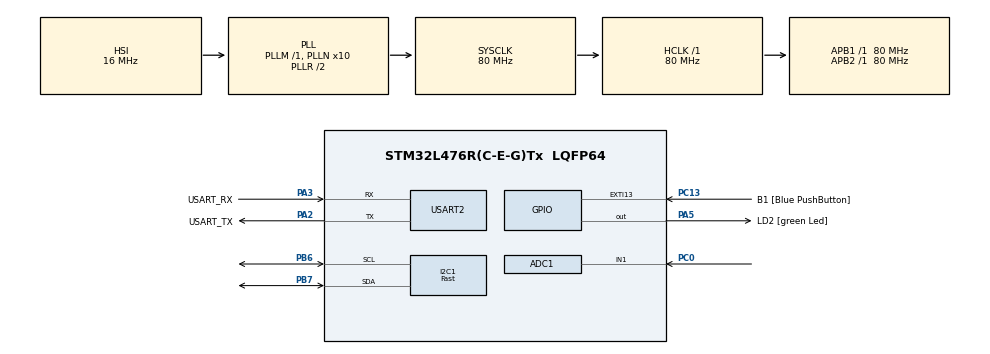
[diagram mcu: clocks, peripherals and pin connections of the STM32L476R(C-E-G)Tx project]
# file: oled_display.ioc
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ADC1.Channel-0\#ChannelRegularConversion=ADC_CHANNEL_1
ADC1.NbrOfConversionFlag=1
ADC1.OffsetNumber-0\#ChannelRegularConversion=ADC_OFFSET_NONE
ADC1.Rank-0\#ChannelRegularConversion=1
ADC1.SamplingTime-0\#ChannelRegularConversion=ADC_SAMPLETIME_2CYCLES_5
ADC1.master=1
I2C1.I2C_Speed_Mode=I2C_Fast
I2C1.Timing=0x00702991
Mcu.Family=STM32L4
Mcu.Name=STM32L476R(C-E-G)Tx
Mcu.Package=LQFP64
NVIC.PriorityGroup=NVIC_PRIORITYGROUP_4
PA13\ (JTMS-SWDIO).GPIO_Label=TMS
PA13\ (JTMS-SWDIO).Mode=Serial_Wire
PA13\ (JTMS-SWDIO).Signal=SYS_JTMS-SWDIO
PA14\ (JTCK-SWCLK).GPIO_Label=TCK
PA14\ (JTCK-SWCLK).Mode=Serial_Wire
PA14\ (JTCK-SWCLK).Signal=SYS_JTCK-SWCLK
PA2.GPIO_Label=USART_TX
PA2.GPIO_Mode=GPIO_MODE_AF_PP
PA2.GPIO_PuPd=GPIO_NOPULL
PA2.GPIO_Speed=GPIO_SPEED_FREQ_VERY_HIGH
PA2.Mode=Asynchronous
PA2.Signal=USART2_TX
PA3.GPIO_Label=USART_RX
PA3.GPIO_Mode=GPIO_MODE_AF_PP
PA3.GPIO_PuPd=GPIO_NOPULL
PA3.GPIO_Speed=GPIO_SPEED_FREQ_VERY_HIGH
PA3.Mode=Asynchronous
PA3.Signal=USART2_RX
PA5.GPIO_Label=LD2 [green Led]
PA5.GPIO_ModeDefaultOutputPP=GPIO_MODE_OUTPUT_PP
PA5.GPIO_PuPd=GPIO_NOPULL
PA5.GPIO_Speed=GPIO_SPEED_FREQ_LOW
PA5.Signal=GPIO_Output
PB3\ (JTDO-TRACESWO).GPIO_Label=SWO
PB3\ (JTDO-TRACESWO).Signal=SYS_JTDO-SWO
PB6.GPIO_Pu=GPIO_PULLUP
PB6.Mode=I2C
PB6.Signal=I2C1_SCL
PB7.GPIO_Pu=GPIO_PULLUP
PB7.Mode=I2C
PB7.Signal=I2C1_SDA
PC0.Signal=ADCx_IN1
PC13.GPIO_Label=B1 [Blue PushButton]
PC13.GPIO_ModeDefaultEXTI=GPIO_MODE_IT_FALLING
PC13.GPIO_PuPd=GPIO_NOPULL
PC13.Signal=GPXTI13
PC14-OSC32_IN\ (PC14).Mode=LSE-External-Oscillator
PC14-OSC32_IN\ (PC14).Signal=RCC_OSC32_IN
PC15-OSC32_OUT\ (PC15).Mode=LSE-External-Oscillator
PC15-OSC32_OUT\ (PC15).Signal=RCC_OSC32_OUT
PH0-OSC_IN\ (PH0).Signal=RCC_OSC_IN
PH1-OSC_OUT\ (PH1).Signal=RCC_OSC_OUT
ProjectManager.HeapSize=0x200
ProjectManager.StackSize=0x400
ProjectManager.TargetToolchain=STM32CubeIDE
RCC.ADCFreq_Value=64000000
RCC.AHBFreq_Value=80000000
RCC.APB1Freq_Value=80000000
RCC.APB1TimFreq_Value=80000000
RCC.APB2Freq_Value=80000000
RCC.APB2TimFreq_Value=80000000
RCC.CortexFreq_Value=80000000
RCC.HCLKFreq_Value=80000000
RCC.HSE_VALUE=8000000
RCC.HSI_VALUE=16000000
RCC.MSI_VALUE=4000000
RCC.PLLN=10
RCC.PLLSourceVirtual=RCC_PLLSOURCE_HSI
RCC.PREFETCH_ENABLE=1
RCC.SYSCLKFreq_VALUE=80000000
RCC.SYSCLKSource=RCC_SYSCLKSOURCE_PLLCLK
RCC.USBFreq_Value=64000000
RCC.VCOOutputFreq_Value=160000000
SH.ADCx_IN1.0=ADC1_IN1,IN1-Single-Ended
USART2.VirtualMode-Asynchronous=VM_ASYNC
board=NUCLEO-L476RG

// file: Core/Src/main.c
/* USER CODE BEGIN Header */
/**
  ******************************************************************************
  * @file           : main.c
  * @brief          : Main program body
  ******************************************************************************
  * @attention
  *
  * <h2><center>&copy; Copyright (c) 2019 STMicroelectronics.
  * All rights reserved.</center></h2>
  *
  * This software component is licensed by ST under BSD 3-Clause license,
  * the "License"; You may not use this file except in compliance with the
  * License. You may obtain a copy of the License at:
  *                        opensource.org/licenses/BSD-3-Clause
  *
  ******************************************************************************
  */
/* USER CODE END Header */
#include "main.h"

/* USER CODE BEGIN Includes */
#include "string.h"
#include "ssd1306.h"
#include "fonts.h"
#include "test.h"
#include "bitmap.h"
#include "horse_anim.h"
/* USER CODE END Includes */

 ADC_HandleTypeDef hadc1;

I2C_HandleTypeDef hi2c1;

UART_HandleTypeDef huart2;

void SystemClock_Config(void);
static void MX_GPIO_Init(void);
static void MX_USART2_UART_Init(void);
static void MX_I2C1_Init(void);
static void MX_ADC1_Init(void);

/* USER CODE BEGIN 0 */
uint16_t value_adc = 4096; // adc_value
float volts = 0;
char msg[5];
/* USER CODE END 0 */

int main(void)
{

  /* MCU Configuration--------------------------------------------------------*/

  /* Reset of all peripherals, Initializes the Flash interface and the Systick. */
  HAL_Init();

  /* Configure the system clock */
  SystemClock_Config();

  /* Initialize all configured peripherals */
  MX_GPIO_Init();
  MX_USART2_UART_Init();
  MX_I2C1_Init();
  MX_ADC1_Init();
  /* USER CODE BEGIN 2 */
  SSD1306_Init (); // initialize the diaply

  SSD1306_GotoXY (10,10); // goto 10, 10
  SSD1306_Puts ("HELLO", &Font_11x18, 1); // print Hello
  SSD1306_GotoXY (10, 30);
  SSD1306_Puts ("WORLD !!", &Font_11x18, 1);
  SSD1306_UpdateScreen(); // update screen
  HAL_Delay(1000);
  SSD1306_Clear();
  SSD1306_GotoXY (0,0); // goto 10, 10
  SSD1306_Puts ("LE HUU HAI", &Font_7x10, 1); // print Hello
  SSD1306_UpdateScreen(); // update screen
  HAL_Delay(3000);
  SSD1306_GotoXY (0,20);
  SSD1306_Puts ("Digit:  ", &Font_11x18, 1);
  SSD1306_GotoXY (0,42);
  SSD1306_Puts ("Volts:  ", &Font_11x18, 1);
  SSD1306_UpdateScreen(); // update screen
  /*SSD1306_GotoXY (20,20); // goto 10, 10
  SSD1306_Putc ((char)(value_adc/1000+48), &Font_11x18, 1);
  SSD1306_Putc ((char)((value_adc%1000)/100+48), &Font_11x18, 1);
  SSD1306_Putc ((char)((value_adc%100)/10+48), &Font_11x18, 1);
  SSD1306_Putc ((char)(value_adc%10+48), &Font_11x18, 1);
  SSD1306_UpdateScreen(); // update screen*/
  /* USER CODE END 2 */

  /* Infinite loop */
  while (1)
  {

  }
}

void SystemClock_Config(void)
{
  RCC_OscInitTypeDef RCC_OscInitStruct = {0};
  RCC_ClkInitTypeDef RCC_ClkInitStruct = {0};

  /** Configure the main internal regulator output voltage
  */
  if (HAL_PWREx_ControlVoltageScaling(PWR_REGULATOR_VOLTAGE_SCALE1) != HAL_OK)
  {
    Error_Handler();
  }

  /** Initializes the RCC Oscillators according to the specified parameters
  * in the RCC_OscInitTypeDef structure.
  */
  RCC_OscInitStruct.OscillatorType = RCC_OSCILLATORTYPE_HSI;
  RCC_OscInitStruct.HSIState = RCC_HSI_ON;
  RCC_OscInitStruct.HSICalibrationValue = RCC_HSICALIBRATION_DEFAULT;
  RCC_OscInitStruct.PLL.PLLState = RCC_PLL_ON;
  RCC_OscInitStruct.PLL.PLLSource = RCC_PLLSOURCE_HSI;
  RCC_OscInitStruct.PLL.PLLM = 1;
  RCC_OscInitStruct.PLL.PLLN = 10;
  RCC_OscInitStruct.PLL.PLLP = RCC_PLLP_DIV7;
  RCC_OscInitStruct.PLL.PLLQ = RCC_PLLQ_DIV2;
  RCC_OscInitStruct.PLL.PLLR = RCC_PLLR_DIV2;
  if (HAL_RCC_OscConfig(&RCC_OscInitStruct) != HAL_OK)
  {
    Error_Handler();
  }

  /** Initializes the CPU, AHB and APB buses clocks
  */
  RCC_ClkInitStruct.ClockType = RCC_CLOCKTYPE_HCLK|RCC_CLOCKTYPE_SYSCLK
                              |RCC_CLOCKTYPE_PCLK1|RCC_CLOCKTYPE_PCLK2;
  RCC_ClkInitStruct.SYSCLKSource = RCC_SYSCLKSOURCE_PLLCLK;
  RCC_ClkInitStruct.AHBCLKDivider = RCC_SYSCLK_DIV1;
  RCC_ClkInitStruct.APB1CLKDivider = RCC_HCLK_DIV1;
  RCC_ClkInitStruct.APB2CLKDivider = RCC_HCLK_DIV1;

  if (HAL_RCC_ClockConfig(&RCC_ClkInitStruct, FLASH_LATENCY_4) != HAL_OK)
  {
    Error_Handler();
  }
}

static void MX_ADC1_Init(void)
{

  ADC_MultiModeTypeDef multimode = {0};
  ADC_ChannelConfTypeDef sConfig = {0};

  /** Common config
  */
  hadc1.Instance = ADC1;
  hadc1.Init.ClockPrescaler = ADC_CLOCK_ASYNC_DIV1;
  hadc1.Init.Resolution = ADC_RESOLUTION_12B;
  hadc1.Init.DataAlign = ADC_DATAALIGN_RIGHT;
  hadc1.Init.ScanConvMode = ADC_SCAN_DISABLE;
  hadc1.Init.EOCSelection = ADC_EOC_SINGLE_CONV;
  hadc1.Init.LowPowerAutoWait = DISABLE;
  hadc1.Init.ContinuousConvMode = DISABLE;
  hadc1.Init.NbrOfConversion = 1;
  hadc1.Init.DiscontinuousConvMode = DISABLE;
  hadc1.Init.ExternalTrigConv = ADC_SOFTWARE_START;
  hadc1.Init.ExternalTrigConvEdge = ADC_EXTERNALTRIGCONVEDGE_NONE;
  hadc1.Init.DMAContinuousRequests = DISABLE;
  hadc1.Init.Overrun = ADC_OVR_DATA_PRESERVED;
  hadc1.Init.OversamplingMode = DISABLE;
  if (HAL_ADC_Init(&hadc1) != HAL_OK)
  {
    Error_Handler();
  }

  /** Configure the ADC multi-mode
  */
  multimode.Mode = ADC_MODE_INDEPENDENT;
  if (HAL_ADCEx_MultiModeConfigChannel(&hadc1, &multimode) != HAL_OK)
  {
    Error_Handler();
  }

  /** Configure Regular Channel
  */
  sConfig.Channel = ADC_CHANNEL_1;
  sConfig.Rank = ADC_REGULAR_RANK_1;
  sConfig.SamplingTime = ADC_SAMPLETIME_2CYCLES_5;
  sConfig.SingleDiff = ADC_SINGLE_ENDED;
  sConfig.OffsetNumber = ADC_OFFSET_NONE;
  sConfig.Offset = 0;
  if (HAL_ADC_ConfigChannel(&hadc1, &sConfig) != HAL_OK)
  {
    Error_Handler();
  }

}

static void MX_I2C1_Init(void)
{

  hi2c1.Instance = I2C1;
  hi2c1.Init.Timing = 0x00702991;
  hi2c1.Init.OwnAddress1 = 0;
  hi2c1.Init.AddressingMode = I2C_ADDRESSINGMODE_7BIT;
  hi2c1.Init.DualAddressMode = I2C_DUALADDRESS_DISABLE;
  hi2c1.Init.OwnAddress2 = 0;
  hi2c1.Init.OwnAddress2Masks = I2C_OA2_NOMASK;
  hi2c1.Init.GeneralCallMode = I2C_GENERALCALL_DISABLE;
  hi2c1.Init.NoStretchMode = I2C_NOSTRETCH_DISABLE;
  if (HAL_I2C_Init(&hi2c1) != HAL_OK)
  {
    Error_Handler();
  }

  /** Configure Analogue filter
  */
  if (HAL_I2CEx_ConfigAnalogFilter(&hi2c1, I2C_ANALOGFILTER_ENABLE) != HAL_OK)
  {
    Error_Handler();
  }

  /** Configure Digital filter
  */
  if (HAL_I2CEx_ConfigDigitalFilter(&hi2c1, 0) != HAL_OK)
  {
    Error_Handler();
  }

}

static void MX_USART2_UART_Init(void)
{

  huart2.Instance = USART2;
  huart2.Init.BaudRate = 115200;
  huart2.Init.WordLength = UART_WORDLENGTH_8B;
  huart2.Init.StopBits = UART_STOPBITS_1;
  huart2.Init.Parity = UART_PARITY_NONE;
  huart2.Init.Mode = UART_MODE_TX_RX;
  huart2.Init.HwFlowCtl = UART_HWCONTROL_NONE;
  huart2.Init.OverSampling = UART_OVERSAMPLING_16;
  huart2.Init.OneBitSampling = UART_ONE_BIT_SAMPLE_DISABLE;
  huart2.AdvancedInit.AdvFeatureInit = UART_ADVFEATURE_NO_INIT;
  if (HAL_UART_Init(&huart2) != HAL_OK)
  {
    Error_Handler();
  }

}

static void MX_GPIO_Init(void)
{
  GPIO_InitTypeDef GPIO_InitStruct = {0};

  /* GPIO Ports Clock Enable */
  __HAL_RCC_GPIOC_CLK_ENABLE();
  __HAL_RCC_GPIOH_CLK_ENABLE();
  __HAL_RCC_GPIOA_CLK_ENABLE();
  __HAL_RCC_GPIOB_CLK_ENABLE();

  /*Configure GPIO pin Output Level */
  HAL_GPIO_WritePin(LD2_GPIO_Port, LD2_Pin, GPIO_PIN_RESET);

  /*Configure GPIO pin : B1_Pin */
  GPIO_InitStruct.Pin = B1_Pin;
  GPIO_InitStruct.Mode = GPIO_MODE_IT_FALLING;
  GPIO_InitStruct.Pull = GPIO_NOPULL;
  HAL_GPIO_Init(B1_GPIO_Port, &GPIO_InitStruct);

  /*Configure GPIO pin : LD2_Pin */
  GPIO_InitStruct.Pin = LD2_Pin;
  GPIO_InitStruct.Mode = GPIO_MODE_OUTPUT_PP;
  GPIO_InitStruct.Pull = GPIO_NOPULL;
  GPIO_InitStruct.Speed = GPIO_SPEED_FREQ_LOW;
  HAL_GPIO_Init(LD2_GPIO_Port, &GPIO_InitStruct);

}

void Error_Handler(void)
{
}
